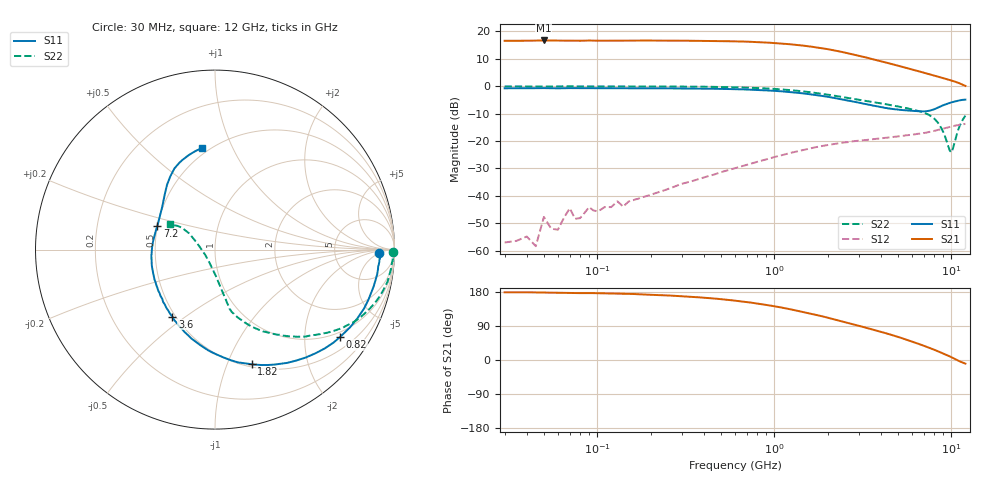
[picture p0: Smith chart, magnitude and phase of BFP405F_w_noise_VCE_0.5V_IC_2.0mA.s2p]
! Infineon Technologies  Discrete & RF Semiconductors
! BFP405F
! VCE =  0.5 V,  IC =  2.0 mA
! Common Emitter S-Parameters:  Nov 2015
# GHz  S  MA  R  50
!  f  S11  S21  S12  S22
! GHz  MAG  ANG  MAG  ANG  MAG  ANG  MAG  ANG
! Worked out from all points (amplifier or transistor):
!   239 points, 30 MHz to 12 GHz, reference 50 ohm
!   highest |S21| = 16.7 dB at 50 MHz (marker M1)
!   |S21| within 3 dB of that: start of sweep to 1.923 GHz
!   unconditionally stable (mu >= 1): 3.835 GHz to end of sweep
!   at 300 MHz: K = 0.00, MSG = 26.1 dB, |S12| = -35.7 dB
!   at 1.88 GHz: K = 0.44, MSG = 17.8 dB, |S12| = -21.8 dB
!   at 12 GHz: K = 1.66, MAG = 2.2 dB, |S12| = -13.8 dB
!   lowest NFmin = 1.01 dB at 450 MHz
!   S11 on the Smith chart (normalised r, x): 30 MHz: 21, -5; 820 MHz: 0.84, -2.96; 1.82 GHz: 0.53, -1.23; 3.6 GHz: 0.48, -0.45; 7.2 GHz: 0.50, +0.15; 12 GHz: 0.46, +0.76
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0.03  0.9144 -1.2  6.733 178.7  0.0014 67.9  0.9905 -0.8
0.04  0.9152 -1.6  6.748 178.7  0.0018 101.5  0.9912 -1.0
0.045  0.9183 -2.0  6.787 178.3  0.0012 -43.8  0.9877 -1.4
0.05  0.9214 -2.3  6.827 177.9  0.0041 -58.3  0.9842 -1.8
0.06  0.9128 -2.5  6.78 177.6  0.0024 27.3  0.9914 -1.5
0.07  0.9211 -3.1  6.778 176.8  0.0059 65.6  0.9915 -1.8
0.075  0.9195 -3.3  6.76 176.7  0.0038 96.1  0.9927 -1.9
0.085  0.9181 -3.8  6.773 176.6  0.0049 126.2  0.9943 -2.3
0.14  0.9139 -6.0  6.78 175.1  0.0063 87.2  0.9921 -3.7
0.24  0.9113 -10.4  6.778 170.7  0.0126 82.5  0.9864 -6.3
0.6  0.8809 -25.8  6.573 156.6  0.0319 76.5  0.955 -15.7
0.82  0.8503 -34.9  6.354 148.3  0.0424 72.2  0.922 -21.0
1.14  0.7965 -47.5  5.935 137.0  0.0565 65.2  0.8643 -28.2
1.64  0.703 -66.1  5.228 121.4  0.0744 55.7  0.7663 -37.5
1.82  0.6704 -72.3  4.968 116.4  0.0795 52.9  0.731 -40.6
2.4  0.5758 -91.0  4.228 102.2  0.0922 44.8  0.6374 -49.3
3.6  0.4425 -122.5  3.101 80.4  0.1074 35.3  0.5137 -60.9
4.5  0.3903 -144.1  2.581 67.6  0.1162 31.7  0.4558 -66.2
7.2  0.3474 157.3  1.711 35.3  0.1417 25.1  0.3151 -76.8
8.6  0.4202 131.5  1.459 21.0  0.1619 22.2  0.1926 -83.1
10  0.5058 116.5  1.269 7.4  0.1835 17.4  0.062 -154.1
12  0.5685 97.6  1.01 -9.6  0.2053 10.3  0.2896 150.9
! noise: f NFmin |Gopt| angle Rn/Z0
0.45  1.01  0.58  7  0.45
0.9  1.03  0.54  15  0.46
1.5  1.15  0.52  21  0.41
1.9  1.2  0.49  29  0.4
2.4  1.39  0.46  38  0.41
3  1.47  0.43  49  0.39
3.5  1.53  0.42  59  0.36
4.5  1.72  0.35  76  0.3
5.5  1.97  0.23  93  0.22
